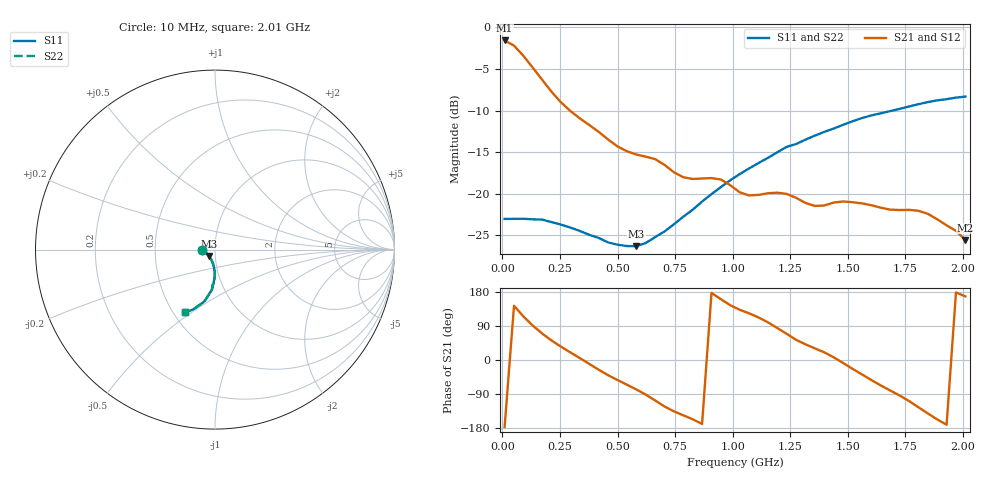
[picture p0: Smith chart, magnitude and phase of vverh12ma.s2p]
# MHz S MA R 50
!  freq  S11  S21  S12  S22
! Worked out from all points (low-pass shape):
!   50 points, 10 MHz to 2.01 GHz, reference 50 ohm
!   highest |S21| = -1.57 dB at 10 MHz (marker M1); lowest = -25.6 dB at 2.01 GHz (marker M2)
!   |S21| within 3 dB of the highest: start of sweep to 124.4 MHz
!   lowest |S11| = -26.3 dB at 581.4 MHz (marker M3), VSWR 1.10, Z = 46.7 - j3.31 ohm
!   |S11| at or under -10 dB: start of sweep to 1.694 GHz
!   |S22| runs from -26.3 to -8.3 dB; largest |S21 - S12| = 0.00063
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10  0.07051 -179.9  0.8349 -176.9  0.8354 -176.9  0.07054 -180.0
50.81633  0.07058 -178.3  0.7775 143.2  0.7775 143.1  0.07053 -178.1
91.63265  0.07066 -177.3  0.6744 114.9  0.6744 114.9  0.07081 -177.4
132.449  0.07014 -176.3  0.5724 90.7  0.5725 90.7  0.07026 -176.3
173.2653  0.06983 -175.1  0.4839 69.7  0.4839 69.7  0.06962 -175.1
214.0816  0.06748 -173.7  0.4097 51.3  0.4096 51.3  0.06722 -173.8
295.7143  0.06254 -170.5  0.3143 19.9  0.3143 19.9  0.06257 -170.4
377.3469  0.05659 -164.0  0.259 -10.2  0.259 -10.2  0.05652 -163.9
458.9796  0.05094 -153.8  0.2119 -40.0  0.2118 -40.0  0.05094 -154.0
581.4286  0.04835 -133.0  0.1721 -77.7  0.1719 -77.7  0.04824 -133.0
703.8776  0.05924 -110.9  0.1492 -122.6  0.1491 -122.5  0.0592 -110.9
785.5102  0.07273 -101.2  0.1257 -146.0  0.1256 -145.9  0.07277 -100.8
907.9592  0.09945 -93.3  0.1242 177.0  0.1244 177.0  0.09966 -93.2
948.7755  0.1096 -92.2  0.1217 160.4  0.1217 160.4  0.1098 -92.2
1030.408  0.1311 -90.6  0.1019 132.5  0.102 132.5  0.1312 -90.6
1071.224  0.1419 -90.3  0.09762 123.2  0.09736 123.2  0.1415 -90.3
1193.673  0.1776 -92.0  0.1014 84.3  0.1014 84.4  0.1777 -92.0
1356.939  0.2236 -94.5  0.0844 30.7  0.08432 30.6  0.2233 -94.5
1520.204  0.2727 -99.7  0.08891 -23.3  0.08883 -23.3  0.2724 -99.6
1683.469  0.3139 -104.5  0.08021 -80.4  0.08024 -80.3  0.3139 -104.5
1846.735  0.3556 -110.2  0.07571 -140.9  0.07564 -140.8  0.3556 -110.2
2010  0.3837 -115.6  0.05264 167.8  0.05282 168.1  0.3842 -115.8
